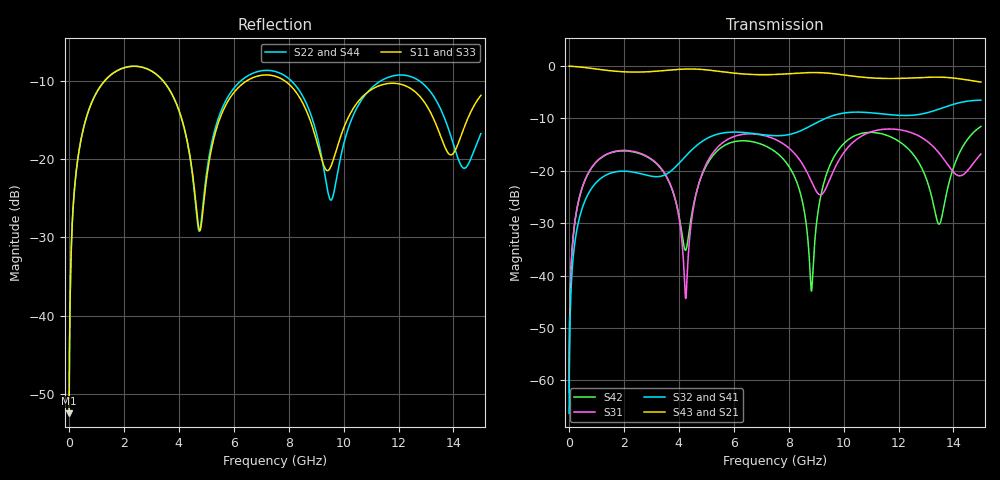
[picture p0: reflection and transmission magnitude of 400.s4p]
! Created with skrf 1.8.0 (http://scikit-rf.org).
# GHz S RI R 50.0
!freq ReS11 ImS11 ReS12 ImS12 ReS13 ImS13
! ReS14 ImS14
! ReS21 ImS21 ReS22 ImS22 ReS23 ImS23
! ReS24 ImS24
! ReS31 ImS31 ReS32 ImS32 ReS33 ImS33
! ReS34 ImS34
! ReS41 ImS41 ReS42 ImS42 ReS43 ImS43
! ReS44 ImS44
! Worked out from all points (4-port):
!   2499 points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, 5 MHz to 15 GHz, reference 50 ohm
!   strongest paths, dB at 5 MHz, 3.476 GHz, 7.19 GHz, 11.1 GHz, 15 GHz:
!     S43: 0.0, -0.8, -1.6, -2.3, -3.1
!     S21: 0.0, -0.9, -1.6, -2.3, -3.1
!     S32: -66.3, -20.8, -13.2, -9.0, -6.5
!     S41: -66.3, -20.8, -13.2, -9.0, -6.5
!     S31: -62.3, -20.4, -13.4, -12.4, -16.8
!     S42: -62.3, -20.5, -15.3, -12.7, -11.5
!   lowest |S11| = -52.5 dB at 5 MHz (marker M1), VSWR 1.00, Z = 50.2 + j0.144 ohm
!   |S11| at or under -10 dB: start of sweep to 1.296 GHz; 3.431 GHz to 6.464 GHz (3.033 GHz wide, 61.3 % of centre); 7.865 GHz to end of sweep
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0.005  0.00189 0.00143  0.9981 -0.00367  9.6e-05 0.000759  -9.31e-05 -0.000475
       0.9981 -0.00367  0.00189 0.00143  -9.31e-05 -0.000475  9.59e-05 0.000759
       9.6e-05 0.000759  -9.31e-05 -0.000475  0.00189 0.00143  0.9981 -0.00367
       -9.31e-05 -0.000475  9.59e-05 0.000759  0.9981 -0.00367  0.00189 0.00143
1.369321  0.275 0.1761  0.5381 -0.7352  0.1316 0.0586  -0.0915 -0.00453
          0.5381 -0.7352  0.2759 0.1755  -0.0915 -0.00447  0.1291 0.062
          0.1316 0.0586  -0.0915 -0.00447  0.2749 0.1761  0.5381 -0.7352
          -0.0915 -0.00453  0.1291 0.062  0.5381 -0.7352  0.2759 0.1754
4.245519  0.0757 -0.1251  -0.8545 -0.3831  -0.00582 -0.00181  -0.053 0.1272
          -0.8545 -0.3831  0.0736 -0.1244  -0.0521 0.1276  -0.0168 -0.00481
          -0.00582 -0.00181  -0.0521 0.1276  0.0759 -0.1237  -0.8547 -0.3831
          -0.053 0.1272  -0.0168 -0.00481  -0.8547 -0.3831  0.0723 -0.1236
4.795748  0.0357 0.00586  -0.9298 -0.0296  0.0214 0.0831  -0.000525 0.1869
          -0.9298 -0.0296  0.0359 0.0107  0.000617 0.1868  -0.00439 0.0844
          0.0214 0.0831  0.000617 0.1868  0.0367 0.00705  -0.9298 -0.0295
          -0.000525 0.1869  -0.00439 0.0844  -0.9298 -0.0295  0.0348 0.012
8.828679  0.1307 -0.1055  0.6979 0.5148  -0.0516 -0.0603  0.155 -0.2226
          0.6979 0.5148  0.1173 -0.1473  0.1521 -0.2245  0.00669 0.00238
          -0.0516 -0.0603  0.1521 -0.2245  0.1316 -0.1028  0.6973 0.5161
          0.155 -0.2226  0.00669 0.00238  0.6973 0.5161  0.1152 -0.1467
12.16132  0.2963 -0.0386  0.077 -0.7601  0.1756 -0.1687  -0.3346 0.0396
          0.077 -0.7601  0.342 -0.0471  -0.3346 0.0447  0.1723 -0.0505
          0.1756 -0.1687  -0.3346 0.0447  0.296 -0.0374  0.0817 -0.7598
          -0.3346 0.0396  0.1723 -0.0505  0.0817 -0.7598  0.3431 -0.0434
15  0.2291 0.1138  -0.6891 0.1416  0.0745 0.124  0.1411 0.4521
    -0.6891 0.1416  0.1347 0.0552  0.1492 0.4486  0.2071 0.1658
    0.0745 0.124  0.1492 0.4486  0.2334 0.1113  -0.6911 0.1331
    0.1411 0.4521  0.2071 0.1658  -0.6911 0.1331  0.1287 0.0591
